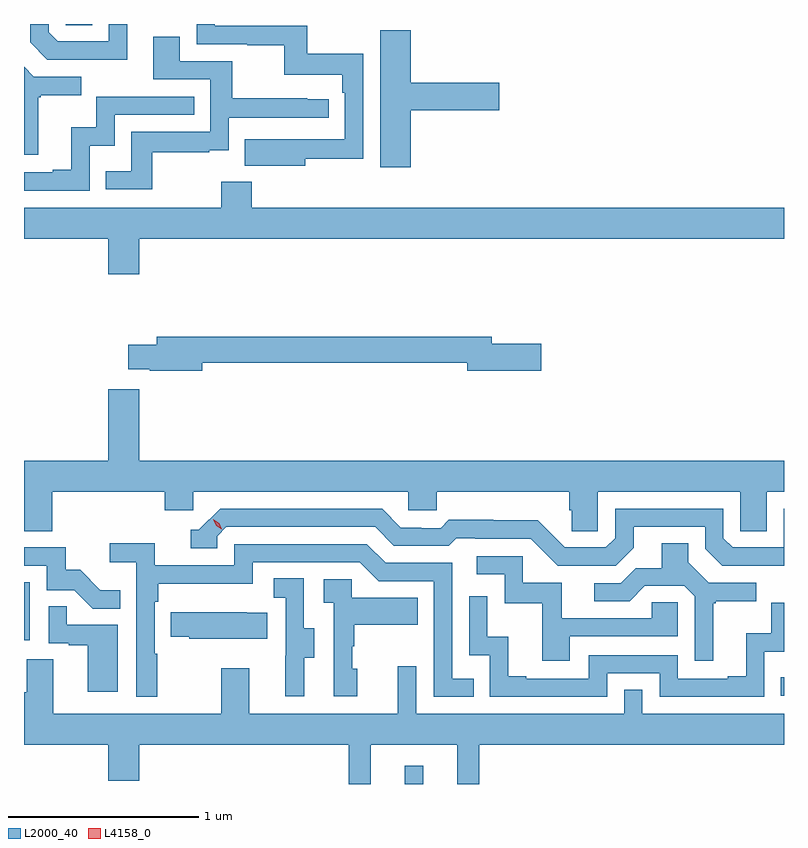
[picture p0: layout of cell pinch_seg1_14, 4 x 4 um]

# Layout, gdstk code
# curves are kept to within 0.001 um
import gdstk
lib = gdstk.Library(unit=1e-6, precision=1e-09)
def R(c, l, rs):  # rectangles x0, y0, x1, y1
    for r in rs: c.add(gdstk.rectangle(r[:2], r[2:], *l))
def P(c, l, *ps):  # polygons
    for p in ps: c.add(gdstk.Polygon(p, *l))
L2000_40 = (2000, 40)
L4158_0 = (4158, 0)

pinch_seg1_14 = lib.new_cell('pinch_seg1_14')
R(pinch_seg1_14, L2000_40, [(1125.609,571.506,1125.706,571.603), (1127.587,571.971,1127.605,572.068), (1123.605,572.262,1123.636,572.569), (1123.824,575.5,1123.963,575.506)])
P(pinch_seg1_14, L2000_40, [(1125.085,574.798),(1125.39,574.798),(1125.39,575.35),(1125.097,575.35),(1125.097,575.496),(1124.61,575.496),(1124.61,575.506),(1124.514,575.506),(1124.514,575.4),(1124.779,575.4),(1124.779,575.395),(1124.976,575.395),(1124.976,575.24),(1125.281,575.24),(1125.281,575.144),(1125.294,575.144),(1125.294,574.899),(1124.981,574.899),(1124.981,574.9),(1124.767,574.9),(1124.767,574.76),(1125.085,574.76)],
  [(1124.149,575.506),(1124.052,575.506),(1124.052,575.415),(1123.782,575.415),(1123.734,575.463),(1123.734,575.506),(1123.638,575.506),(1123.638,575.409),(1123.728,575.319),(1123.944,575.319),(1123.944,575.318),(1124.149,575.318)],
  [(1125.64,575.051),(1126.105,575.051),(1126.105,575.198),(1125.64,575.198),(1125.64,575.473),(1125.479,575.473),(1125.479,574.752),(1125.64,574.752)],
  [(1124.281,574.83),(1124.579,574.83),(1124.579,574.841),(1124.682,574.841),(1124.682,575.013),(1125.208,575.013),(1125.208,575.109),(1125.095,575.109),(1125.095,575.114),(1124.702,575.114),(1124.702,575.31),(1124.425,575.31),(1124.425,575.438),(1124.285,575.438),(1124.285,575.214),(1124.586,575.214),(1124.586,574.938),(1124.17,574.938),(1124.17,574.732),(1124.035,574.732),(1124.035,574.635),(1124.281,574.635)],
  [(1123.681,575.121),(1123.693,575.121),(1123.693,575.132),(1123.906,575.132),(1123.906,575.229),(1123.656,575.229),(1123.605,575.28),(1123.605,574.818),(1123.681,574.818)],
  [(1123.95,574.865),(1124.082,574.865),(1124.082,575.028),(1124.501,575.028),(1124.501,575.124),(1123.986,575.124),(1123.986,574.963),(1123.853,574.963),(1123.853,574.738),(1123.757,574.738),(1123.757,574.725),(1123.605,574.725),(1123.605,574.629),(1123.95,574.629)],
  [(1124.212,574.376),(1127.605,574.376),(1127.605,574.54),(1124.804,574.54),(1124.804,574.675),(1124.644,574.675),(1124.644,574.54),(1123.605,574.54),(1123.605,574.376),(1124.048,574.376),(1124.048,574.188),(1124.212,574.188)],
  [(1124.542,573.724),(1125.938,573.724),(1125.938,573.682),(1126.327,573.682),(1126.327,573.824),(1126.066,573.824),(1126.066,573.86),(1124.303,573.86),(1124.303,573.819),(1124.154,573.819),(1124.154,573.689),(1124.266,573.689),(1124.266,573.682),(1124.542,573.682)],
  [(1123.754,573.044),(1124.345,573.044),(1124.345,572.946),(1124.496,572.946),(1124.496,573.044),(1125.627,573.044),(1125.627,572.946),(1125.777,572.946),(1125.777,573.044),(1126.475,573.044),(1126.475,572.946),(1126.489,572.946),(1126.489,572.836),(1126.626,572.836),(1126.626,573.044),(1127.376,573.044),(1127.376,572.836),(1127.515,572.836),(1127.515,573.044),(1127.605,573.044),(1127.605,573.208),(1124.212,573.208),(1124.212,573.583),(1124.048,573.583),(1124.048,573.208),(1123.605,573.208),(1123.605,572.836),(1123.754,572.836)],
  [(1127.605,572.955),(1127.604,572.751),(1127.334,572.751),(1127.286,572.799),(1127.286,572.955),(1126.716,572.955),(1126.716,572.799),(1126.668,572.751),(1126.452,572.751),(1126.31,572.893),(1126.074,572.893),(1126.074,572.896),(1125.841,572.896),(1125.799,572.853),(1125.696,572.853),(1125.696,572.856),(1125.589,572.856),(1125.49,572.955),(1124.637,572.955),(1124.526,572.844),(1124.483,572.844),(1124.483,572.748),(1124.622,572.748),(1124.622,572.811),(1124.67,572.859),(1125.453,572.859),(1125.552,572.76),(1125.841,572.76),(1125.88,572.799),(1125.979,572.799),(1125.979,572.796),(1126.272,572.796),(1126.413,572.655),(1126.719,572.655),(1126.813,572.749),(1126.813,572.859),(1127.19,572.859),(1127.19,572.745),(1127.28,572.655),(1127.605,572.654)],
  [(1124.305,572.192),(1124.292,572.192),(1124.292,572.465),(1124.312,572.465),(1124.312,572.561),(1124.808,572.561),(1124.808,572.673),(1125.372,572.673),(1125.471,572.574),(1125.762,572.574),(1125.762,571.965),(1125.971,571.965),(1125.971,572.061),(1125.858,572.061),(1125.858,572.67),(1125.508,572.67),(1125.409,572.769),(1124.712,572.769),(1124.712,572.658),(1124.294,572.658),(1124.294,572.774),(1124.055,572.774),(1124.055,572.672),(1124.196,572.672),(1124.196,571.965),(1124.305,571.965)],
  [(1127.233,572.457),(1127.245,572.457),(1127.245,572.468),(1127.458,572.468),(1127.458,572.565),(1127.208,572.565),(1127.101,572.672),(1127.101,572.774),(1126.961,572.774),(1126.961,572.642),(1126.826,572.642),(1126.746,572.562),(1126.605,572.562),(1126.605,572.469),(1126.792,572.469),(1126.873,572.55),(1127.079,572.55),(1127.136,572.493),(1127.136,572.154),(1127.233,572.154)],
  [(1124.111,572.527),(1124.007,572.527),(1123.9,572.634),(1123.824,572.634),(1123.824,572.751),(1123.605,572.751),(1123.605,572.655),(1123.725,572.655),(1123.725,572.526),(1123.869,572.526),(1123.967,572.428),(1124.111,572.428)],
  [(1126.477,572.283),(1127.046,572.283),(1127.046,572.463),(1126.909,572.463),(1126.909,572.379),(1126.435,572.379),(1126.435,572.565),(1126.23,572.565),(1126.23,572.706),(1125.987,572.706),(1125.987,572.61),(1126.134,572.61),(1126.134,572.457),(1126.333,572.457),(1126.333,572.154),(1126.477,572.154)],
  [(1125.079,572.17),(1125.133,572.17),(1125.133,572.325),(1125.078,572.325),(1125.078,572.588),(1124.919,572.588),(1124.919,572.485),(1124.982,572.485),(1124.982,572.181),(1124.981,572.181),(1124.981,571.968),(1125.079,571.968)],
  [(1125.358,572.112),(1125.333,572.112),(1125.333,572.231),(1125.343,572.231),(1125.343,572.345),(1125.677,572.345),(1125.677,572.485),(1125.33,572.485),(1125.33,572.583),(1125.183,572.583),(1125.183,572.459),(1125.234,572.459),(1125.234,571.968),(1125.358,571.968)],
  [(1126.674,572.088),(1126.95,572.088),(1126.95,571.965),(1127.502,571.965),(1127.502,572.201),(1127.605,572.201),(1127.605,572.46),(1127.538,572.46),(1127.538,572.299),(1127.405,572.299),(1127.405,572.074),(1127.309,572.074),(1127.309,572.061),(1127.046,572.061),(1127.046,572.184),(1126.578,572.184),(1126.578,572.061),(1126.249,572.061),(1126.249,572.074),(1126.154,572.074),(1126.154,572.282),(1126.044,572.282),(1126.044,572.494),(1125.948,572.494),(1125.948,572.184),(1126.056,572.184),(1126.056,571.965),(1126.674,571.965)],
  [(1124.098,572.343),(1123.829,572.343),(1123.829,572.441),(1123.734,572.441),(1123.734,572.247),(1123.841,572.247),(1123.841,572.235),(1123.94,572.235),(1123.94,571.992),(1124.098,571.992)],
  [(1124.885,572.407),(1124.777,572.407),(1124.777,572.41),(1124.377,572.41),(1124.377,572.281),(1124.475,572.281),(1124.475,572.27),(1124.885,572.27)],
  [(1125.431,571.712),(1125.884,571.712),(1125.884,571.506),(1126.001,571.506),(1126.001,571.712),(1127.605,571.712),(1127.605,571.876),(1126.86,571.876),(1126.86,572.003),(1126.764,572.003),(1126.764,571.876),(1125.669,571.876),(1125.669,572.125),(1125.572,572.125),(1125.572,571.876),(1124.791,571.876),(1124.791,572.116),(1124.644,572.116),(1124.644,571.876),(1123.759,571.876),(1123.759,572.162),(1123.619,572.162),(1123.619,571.988),(1123.607,571.988),(1123.607,571.876),(1123.605,571.876),(1123.605,571.712),(1124.048,571.712),(1124.048,571.524),(1124.212,571.524),(1124.212,571.712),(1125.313,571.712),(1125.313,571.506),(1125.431,571.506)])
P(pinch_seg1_14, L4158_0, [(1124.647,572.846),(1124.616,572.866),(1124.601,572.899),(1124.601,572.899),(1124.601,572.899),(1124.632,572.879),(1124.647,572.846),(1124.647,572.846)])

lib.write_gds('pinch_seg1_14.gds')
